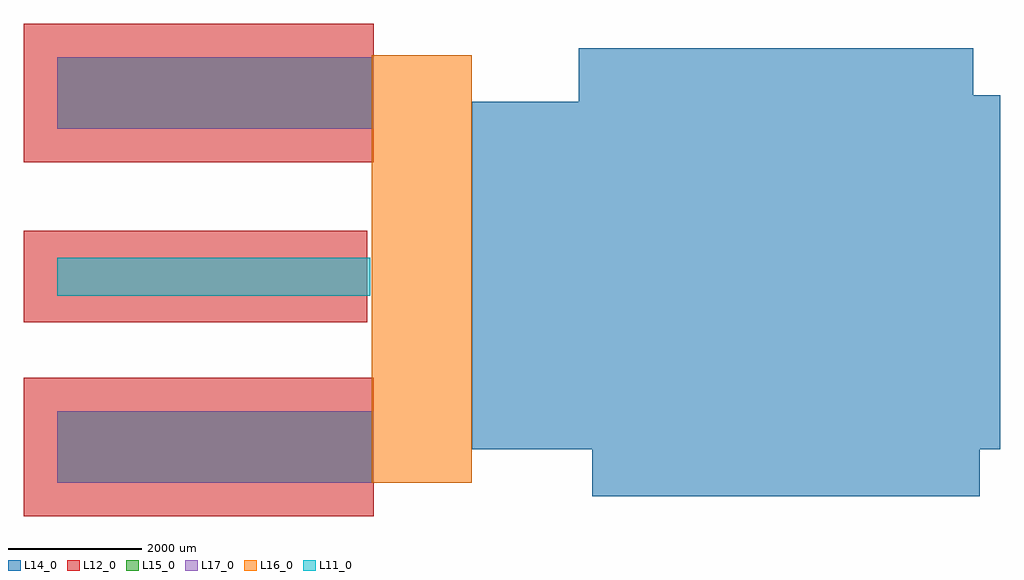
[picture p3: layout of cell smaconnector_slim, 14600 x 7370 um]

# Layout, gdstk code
import gdstk
lib = gdstk.Library(unit=1e-6, precision=1e-09)
def R(c, l, rs):  # rectangles x0, y0, x1, y1
    for r in rs: c.add(gdstk.rectangle(r[:2], r[2:], *l))
def P(c, l, *ps):  # polygons
    for p in ps: c.add(gdstk.Polygon(p, *l))
L11_0 = (11, 0)
L12_0 = (12, 0)
L14_0 = (14, 0)
L15_0 = (15, 0)
L16_0 = (16, 0)
L17_0 = (17, 0)
L99_1 = (99, 1)

smaconnector_slim = lib.new_cell('smaconnector_slim')
R(smaconnector_slim, L11_0, [(-300,-300,4381,270)])
R(smaconnector_slim, L12_0, [(-800,-3600,4432,-1530), (-800,-700,4332,670), (-800,1700,4432,3770)])
P(smaconnector_slim, L14_0, [(5900,2600),(7500,2600),(7500,3400),(13400,3400),(13400,2700),(13800,2700),(13800,-2600),(13500,-2600),(13500,-3300),(7700,-3300),(7700,-2600),(5900,-2600)])
R(smaconnector_slim, L15_0, [(-300,-3100,4432,-2030), (-300,2200,4432,3270)])
R(smaconnector_slim, L16_0, [(4400,-3100,5900,3300)])
R(smaconnector_slim, L17_0, [(-300,-3100,4432,-2030), (-300,2200,4432,3270)])
smaconnector_slim.add(gdstk.FlexPath([(4181,-600),(4181,670)], 0, ends="round", simple_path=True, layer=99, datatype=1))  # L99_1

lib.write_gds('smaconnector_slim.gds')
